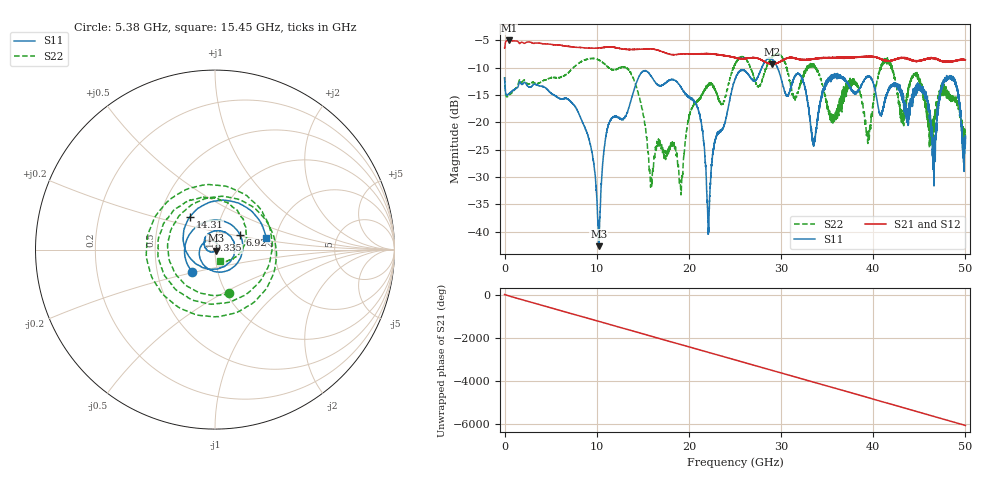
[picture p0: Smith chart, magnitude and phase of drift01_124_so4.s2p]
!Created with skrf (http://scikit-rf.org).
# Hz S RI R 50.0
!freq ReS11 ImS11 ReS21 ImS21 ReS12 ImS12 ReS22 ImS22
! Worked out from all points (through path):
!   10001 points, 300 kHz to 50 GHz, reference 50 ohm
!   highest |S21| = -5.05 dB at 490.3 MHz (marker M1); lowest = -9.4 dB at 29 GHz (marker M2)
!   group delay of S21, straight-line fit = 336 ps
!   lowest |S11| = -42.6 dB at 10.23 GHz (marker M3), VSWR 1.01, Z = 50.5 - j0.575 ohm
!   |S11| at or under -10 dB: start of sweep to 27.9 GHz; 29.6 GHz to end of sweep
!   |S22| runs from -33.2 to -7.5 dB; largest |S21 - S12| = 0.015
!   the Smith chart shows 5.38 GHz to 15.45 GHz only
!   S11 on the Smith chart (normalised r, x): 5.38 GHz: 0.76, -0.19; 6.92 GHz: 1.30, +0.22; 9.335 GHz: 0.93, +0.10; 14.31 GHz: 0.71, +0.28; 15.45 GHz: 1.78, +0.25
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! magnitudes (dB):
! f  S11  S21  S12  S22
! 300 kHz  -11.9  -6.5  -6.5  -11.7
! 490.3 MHz  -14.7  -5.1  -5.1  -15.1
! 5.38 GHz  -15.1  -5.9  -5.9  -11.8
! 6.92 GHz  -15.9  -6.1  -6.1  -11.0
! 8.335 GHz  -19.5  -6.4  -6.3  -8.9
! 9.335 GHz  -24.3  -6.5  -6.4  -8.4
! 10.23 GHz  -42.6  -6.4  -6.4  -8.6
! 11.23 GHz  -20.7  -6.3  -6.2  -9.9
! 14.31 GHz  -12.7  -6.7  -6.7  -13.5
! 15.45 GHz  -10.7  -6.6  -6.6  -23.0
! 16.67 GHz  -13.2  -6.9  -6.9  -23.4
! 19.14 GHz  -13.6  -7.5  -7.6  -33.2
! 20.85 GHz  -16.9  -7.6  -7.5  -16.2
! 22.13 GHz  -39.5  -7.5  -7.5  -13.3
! 25 GHz  -12.1  -8.2  -8.2  -9.5
! 29 GHz  -8.5  -9.4  -9.3  -8.2
! 33.34 GHz  -22.8  -8.5  -8.4  -9.5
! 39.47 GHz  -11.6  -8.0  -8.0  -22.1
! 41.67 GHz  -13.8  -8.8  -8.8  -9.1
! 46.56 GHz  -27.0  -8.3  -8.3  -19.8
! 48.56 GHz  -12.0  -8.9  -8.9  -15.4
! 50 GHz  -23.9  -8.6  -8.6  -23.0
